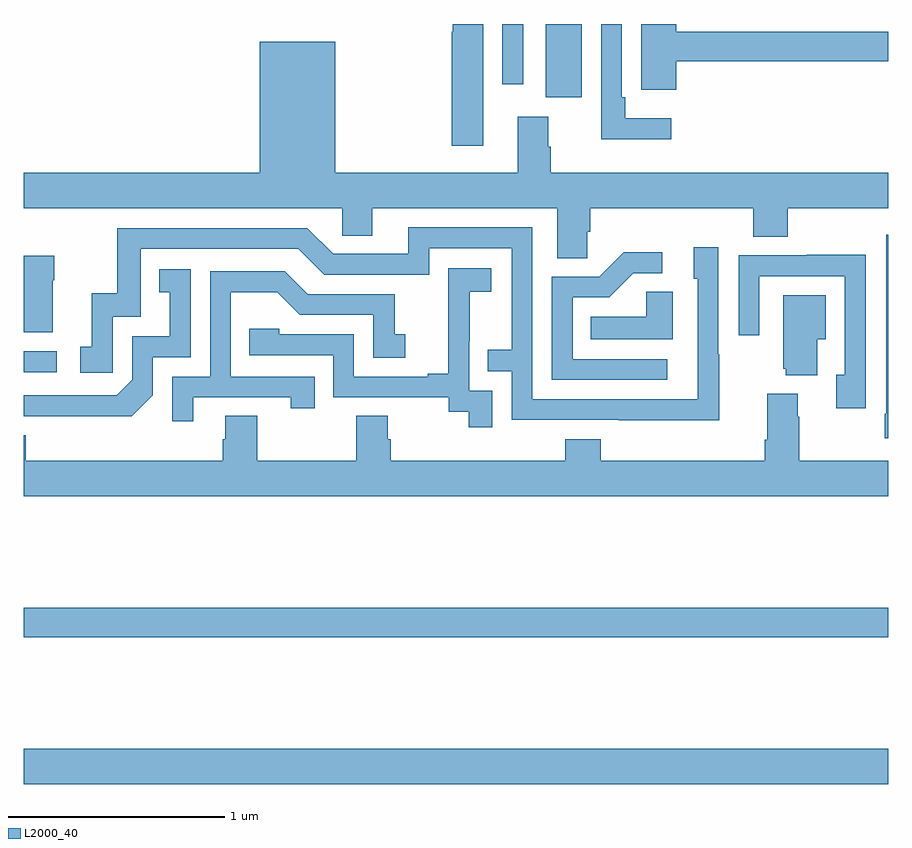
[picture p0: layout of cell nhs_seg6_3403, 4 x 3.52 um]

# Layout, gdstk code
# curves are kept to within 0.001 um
import gdstk
lib = gdstk.Library(unit=1e-6, precision=1e-09)
def R(c, l, rs):  # rectangles x0, y0, x1, y1
    for r in rs: c.add(gdstk.rectangle(r[:2], r[2:], *l))
def P(c, l, *ps):  # polygons
    for p in ps: c.add(gdstk.Polygon(p, *l))
L2000_40 = (2000, 40)

nhs_seg6_3403 = lib.new_cell('nhs_seg6_3403')
R(nhs_seg6_3403, L2000_40, [(311,965.984,315,966.148), (311,966.664,315,966.8), (311,967.89,311.152,967.986), (313.415,969.162,313.582,969.5), (313.215,969.222,313.311,969.5)])
P(nhs_seg6_3403, L2000_40, [(313.126,969.5),(312.985,969.5),(312.985,969.464),(312.98,969.464),(312.98,968.937),(313.126,968.937)],
  [(314.018,969.328),(315,969.328),(315,969.464),(314.018,969.464),(314.018,969.5),(313.856,969.5),(313.856,969.307),(313.857,969.307),(313.857,969.195),(314.018,969.195)],
  [(313.996,969.064),(313.783,969.064),(313.783,969.16),(313.767,969.16),(313.767,969.5),(313.671,969.5),(313.671,968.966),(313.996,968.966)],
  [(313.608,968.539),(313.622,968.539),(313.622,968.648),(314.375,968.648),(314.375,968.515),(314.535,968.515),(314.535,968.648),(315,968.648),(315,968.812),(313.439,968.812),(313.439,968.933),(313.426,968.933),(313.426,969.07),(313.286,969.07),(313.286,968.812),(312.442,968.812),(312.442,969.418),(312.092,969.418),(312.092,968.812),(311,968.812),(311,968.648),(312.474,968.648),(312.474,968.521),(312.613,968.521),(312.613,968.648),(313.469,968.648),(313.469,968.416),(313.608,968.416)],
  [(314.217,967.973),(314.214,967.973),(314.214,968.467),(314.099,968.467),(314.099,968.322),(314.118,968.322),(314.118,967.764),(313.353,967.764),(313.353,968.559),(312.779,968.559),(312.779,968.436),(312.432,968.436),(312.312,968.556),(311.433,968.556),(311.433,968.254),(311.315,968.254),(311.315,968.007),(311.262,968.007),(311.262,967.887),(311.412,967.887),(311.412,968.145),(311.541,968.145),(311.541,968.46),(312.27,968.46),(312.39,968.34),(312.876,968.34),(312.876,968.463),(313.257,968.463),(313.257,967.994),(313.147,967.994),(313.147,967.893),(313.257,967.893),(313.257,967.668),(314.217,967.667)],
  [(315,968.524),(314.99,968.524),(314.99,967.696),(314.983,967.696),(314.983,967.584),(315,967.584)],
  [(313.978,967.95),(313.539,967.95),(313.539,968.235),(313.708,968.235),(313.819,968.346),(313.954,968.346),(313.954,968.444),(313.775,968.444),(313.662,968.331),(313.443,968.331),(313.443,967.854),(313.978,967.854)],
  [(314.895,968.432),(314.623,968.432),(314.623,968.43),(314.307,968.43),(314.307,968.061),(314.403,968.061),(314.403,968.334),(314.799,968.334),(314.799,967.878),(314.759,967.878),(314.759,967.722),(314.895,967.722)],
  [(311.134,968.315),(311.142,968.315),(311.142,968.428),(311,968.428),(311,968.075),(311.134,968.075)],
  [(313.167,967.803),(313.062,967.803),(313.062,968.033),(313.064,968.033),(313.064,968.261),(313.162,968.261),(313.162,968.371),(312.964,968.371),(312.964,968.165),(312.965,968.165),(312.965,967.882),(312.869,967.882),(312.869,967.869),(312.528,967.869),(312.528,968.064),(312.183,968.064),(312.183,968.091),(312.043,968.091),(312.043,967.968),(312.432,967.968),(312.432,967.773),(312.966,967.773),(312.966,967.705),(313.059,967.705),(313.059,967.635),(313.167,967.635)],
  [(311.598,967.782),(311.598,967.959),(311.772,967.959),(311.772,968.365),(311.626,968.365),(311.626,968.259),(311.675,968.259),(311.675,968.055),(311.502,968.055),(311.502,967.854),(311.43,967.782),(311,967.782),(311,967.686),(311.092,967.685),(311.5,967.685)],
  [(311.785,967.773),(312.236,967.773),(312.236,967.722),(312.347,967.722),(312.347,967.869),(311.958,967.869),(311.958,968.258),(312.172,968.258),(312.276,968.154),(312.618,968.154),(312.618,967.956),(312.766,967.956),(312.766,968.065),(312.717,968.065),(312.717,968.25),(312.313,968.25),(312.208,968.355),(311.862,968.355),(311.862,967.869),(311.688,967.869),(311.688,967.662),(311.785,967.662)],
  [(314.002,968.261),(313.881,968.261),(313.881,968.146),(313.624,968.146),(313.624,968.042),(314.002,968.042)],
  [(314.671,968.042),(314.71,968.042),(314.71,968.245),(314.513,968.245),(314.513,967.905),(314.525,967.905),(314.525,967.874),(314.671,967.874)],
  [(315,967.48),(314.589,967.48),(314.589,967.682),(314.581,967.682),(314.581,967.789),(314.441,967.789),(314.441,967.576),(314.429,967.576),(314.429,967.48),(313.67,967.48),(313.67,967.579),(313.505,967.579),(313.505,967.48),(312.698,967.48),(312.698,967.578),(312.685,967.578),(312.685,967.688),(312.538,967.688),(312.538,967.48),(312.081,967.48),(312.081,967.688),(311.933,967.688),(311.933,967.578),(311.921,967.578),(311.921,967.48),(311.009,967.48),(311.009,967.597),(311,967.597),(311,967.316),(315,967.316)])

lib.write_gds('nhs_seg6_3403.gds')
